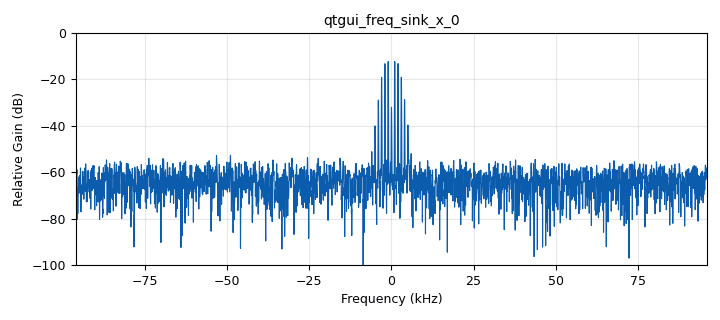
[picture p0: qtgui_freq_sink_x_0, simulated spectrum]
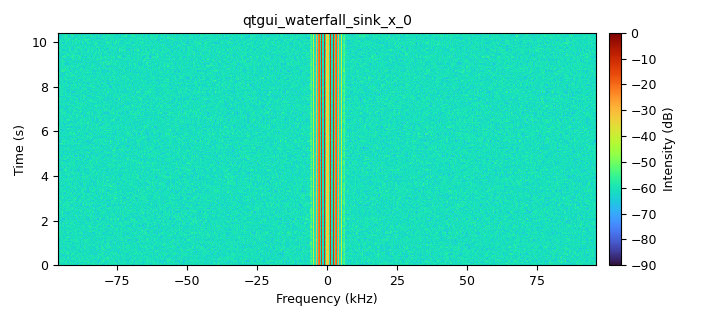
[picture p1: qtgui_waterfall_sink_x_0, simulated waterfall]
<?xml version='1.0' encoding='utf-8'?>
<?grc format='1' created='3.7.10'?>
<flow_graph>
<block>
<key>options</key>
<param><key>id</key><value>fm_doppler_corr</value></param>
<param><key>generate_options</key><value>qt_gui</value></param>
</block>
<block>
<key>variable</key>
<param><key>id</key><value>doppler_bw</value></param>
<param><key>value</key><value>50e3</value></param>
</block>
<block>
<key>variable_qtgui_range</key>
<param><key>id</key><value>doppler_shift</value></param>
<param><key>value</key><value>0.0</value></param>
<param><key>orient</key><value>Qt.Horizontal</value></param>
<param><key>start</key><value>-doppler_bw*0.5</value></param>
<param><key>step</key><value>1.0</value></param>
<param><key>stop</key><value>doppler_bw*0.5</value></param>
</block>
<block>
<key>variable</key>
<param><key>id</key><value>samp_rate</value></param>
<param><key>value</key><value>192e3</value></param>
</block>
<block>
<key>analog_noise_source_x</key>
<param><key>id</key><value>analog_noise_source_x_0</value></param>
<param><key>amp</key><value>1</value></param>
<param><key>_enabled</key><value>0</value></param>
<param><key>noise_type</key><value>analog.GR_GAUSSIAN</value></param>
<param><key>type</key><value>complex</value></param>
<param><key>seed</key><value>0</value></param>
</block>
<block>
<key>analog_sig_source_x</key>
<param><key>id</key><value>analog_sig_source_x_0</value></param>
<param><key>amp</key><value>1</value></param>
<param><key>freq</key><value>1000</value></param>
<param><key>offset</key><value>0</value></param>
<param><key>type</key><value>float</value></param>
<param><key>samp_rate</key><value>samp_rate</value></param>
<param><key>waveform</key><value>analog.GR_COS_WAVE</value></param>
</block>
<block>
<key>blocks_rotator_cc</key>
<param><key>id</key><value>blocks_rotator_cc_0</value></param>
<param><key>phase_inc</key><value>(doppler_shift/samp_rate)*2*math.pi</value></param>
</block>
<block>
<key>blocks_throttle</key>
<param><key>id</key><value>blocks_throttle_0</value></param>
<param><key>samples_per_second</key><value>samp_rate</value></param>
<param><key>type</key><value>complex</value></param>
</block>
<block>
<key>blocks_vco_c</key>
<param><key>id</key><value>blocks_vco_c_0</value></param>
<param><key>amplitude</key><value>1.0</value></param>
<param><key>samp_rate</key><value>samp_rate</value></param>
<param><key>sensitivity</key><value>2*math.pi*2.5e3</value></param>
</block>
<block>
<key>channels_channel_model</key>
<param><key>id</key><value>channels_channel_model_0</value></param>
<param><key>epsilon</key><value>1.0</value></param>
<param><key>freq_offset</key><value>0.0</value></param>
<param><key>noise_voltage</key><value>0.1</value></param>
<param><key>seed</key><value>0</value></param>
<param><key>taps</key><value>1.0 + 1.0j</value></param>
</block>
<block>
<key>feed_forward_doppler_corr</key>
<param><key>id</key><value>feed_forward_doppler_corr_0</value></param>
<param><key>corr_gain</key><value>1</value></param>
<param><key>doppler_bw</key><value>doppler_bw*1.25</value></param>
<param><key>integration_sample</key><value>50000</value></param>
<param><key>samp_rate</key><value>samp_rate</value></param>
</block>
<block>
<key>import</key>
<param><key>id</key><value>import_0</value></param>
<param><key>import</key><value>import math</value></param>
</block>
<block>
<key>low_pass_filter</key>
<param><key>id</key><value>low_pass_filter_0</value></param>
<param><key>cutoff_freq</key><value>5e3</value></param>
<param><key>decim</key><value>1</value></param>
<param><key>_enabled</key><value>0</value></param>
<param><key>type</key><value>fir_filter_ccf</value></param>
<param><key>gain</key><value>2</value></param>
<param><key>samp_rate</key><value>samp_rate</value></param>
<param><key>width</key><value>1e3</value></param>
<param><key>win</key><value>firdes.WIN_HAMMING</value></param>
</block>
<block>
<key>qtgui_freq_sink_x</key>
<param><key>id</key><value>qtgui_freq_sink_x_0</value></param>
<param><key>bw</key><value>samp_rate</value></param>
<param><key>fc</key><value>0</value></param>
<param><key>fftsize</key><value>4096</value></param>
<param><key>gui_hint</key><value>tab@0:0,0,1,1</value></param>
<param><key>grid</key><value>True</value></param>
<param><key>legend</key><value>False</value></param>
<param><key>showports</key><value>True</value></param>
<param><key>type</key><value>complex</value></param>
<param><key>wintype</key><value>firdes.WIN_BLACKMAN_hARRIS</value></param>
<param><key>ymax</key><value>0</value></param>
<param><key>ymin</key><value>-100</value></param>
</block>
<block>
<key>qtgui_freq_sink_x</key>
<param><key>id</key><value>qtgui_freq_sink_x_1</value></param>
<param><key>bw</key><value>samp_rate</value></param>
<param><key>fc</key><value>0</value></param>
<param><key>fftsize</key><value>4096</value></param>
<param><key>gui_hint</key><value>tab@1:0,0,1,1</value></param>
<param><key>grid</key><value>True</value></param>
<param><key>legend</key><value>False</value></param>
<param><key>showports</key><value>True</value></param>
<param><key>type</key><value>complex</value></param>
<param><key>wintype</key><value>firdes.WIN_BLACKMAN_hARRIS</value></param>
<param><key>ymax</key><value>0</value></param>
<param><key>ymin</key><value>-100</value></param>
</block>
<block>
<key>qtgui_freq_sink_x</key>
<param><key>id</key><value>qtgui_freq_sink_x_1_0</value></param>
<param><key>bw</key><value>samp_rate</value></param>
<param><key>fc</key><value>0</value></param>
<param><key>fftsize</key><value>4096</value></param>
<param><key>gui_hint</key><value>tab@2:0,0,1,1</value></param>
<param><key>grid</key><value>True</value></param>
<param><key>legend</key><value>False</value></param>
<param><key>showports</key><value>True</value></param>
<param><key>type</key><value>complex</value></param>
<param><key>wintype</key><value>firdes.WIN_BLACKMAN_hARRIS</value></param>
<param><key>ymax</key><value>0</value></param>
<param><key>ymin</key><value>-100</value></param>
</block>
<block>
<key>qtgui_freq_sink_x</key>
<param><key>id</key><value>qtgui_freq_sink_x_1_0_0</value></param>
<param><key>bw</key><value>samp_rate</value></param>
<param><key>fc</key><value>0</value></param>
<param><key>fftsize</key><value>4096</value></param>
<param><key>gui_hint</key><value>tab@2:1,0,1,1</value></param>
<param><key>grid</key><value>True</value></param>
<param><key>legend</key><value>False</value></param>
<param><key>showports</key><value>True</value></param>
<param><key>type</key><value>complex</value></param>
<param><key>wintype</key><value>firdes.WIN_BLACKMAN_hARRIS</value></param>
<param><key>ymax</key><value>0</value></param>
<param><key>ymin</key><value>-100</value></param>
</block>
<block>
<key>qtgui_time_sink_x</key>
<param><key>id</key><value>qtgui_time_sink_x_0</value></param>
<param><key>gui_hint</key><value>tab@1:1,0,1,1</value></param>
<param><key>grid</key><value>True</value></param>
<param><key>legend</key><value>False</value></param>
<param><key>color1</key><value>"blue"</value></param>
<param><key>label1</key><value></value></param>
<param><key>size</key><value>8192</value></param>
<param><key>srate</key><value>samp_rate</value></param>
<param><key>type</key><value>float</value></param>
<param><key>ymax</key><value>50e3</value></param>
<param><key>ymin</key><value>-50e3</value></param>
</block>
<block>
<key>qtgui_waterfall_sink_x</key>
<param><key>id</key><value>qtgui_waterfall_sink_x_0</value></param>
<param><key>bw</key><value>samp_rate</value></param>
<param><key>fc</key><value>0</value></param>
<param><key>fftsize</key><value>8192</value></param>
<param><key>gui_hint</key><value>tab@0:1,0,1,1</value></param>
<param><key>int_max</key><value>0</value></param>
<param><key>int_min</key><value>-90</value></param>
<param><key>legend</key><value>False</value></param>
<param><key>color1</key><value>6</value></param>
<param><key>showports</key><value>True</value></param>
<param><key>type</key><value>complex</value></param>
<param><key>wintype</key><value>firdes.WIN_BLACKMAN_hARRIS</value></param>
</block>
<block>
<key>qtgui_tab_widget</key>
<param><key>id</key><value>tab</value></param>
<param><key>gui_hint</key><value>1,0,1,1</value></param>
<param><key>label0</key><value>Tab 0</value></param>
<param><key>label1</key><value>Tab 1</value></param>
<param><key>label2</key><value>Tab 2</value></param>
<param><key>num_tabs</key><value>3</value></param>
</block>
<block>
<key>virtual_sink</key>
<param><key>id</key><value>virtual_sink_0</value></param>
<param><key>stream_id</key><value>rf</value></param>
</block>
<block>
<key>virtual_source</key>
<param><key>id</key><value>virtual_source_0</value></param>
<param><key>stream_id</key><value>rf</value></param>
</block>
<connection><source_block_id>analog_noise_source_x_0</source_block_id><sink_block_id>low_pass_filter_0</sink_block_id><source_key>0</source_key><sink_key>0</sink_key></connection>
<connection><source_block_id>analog_sig_source_x_0</source_block_id><sink_block_id>blocks_vco_c_0</sink_block_id><source_key>0</source_key><sink_key>0</sink_key></connection>
<connection><source_block_id>blocks_rotator_cc_0</source_block_id><sink_block_id>channels_channel_model_0</sink_block_id><source_key>0</source_key><sink_key>0</sink_key></connection>
<connection><source_block_id>blocks_throttle_0</source_block_id><sink_block_id>qtgui_freq_sink_x_0</sink_block_id><source_key>0</source_key><sink_key>0</sink_key></connection>
<connection><source_block_id>blocks_throttle_0</source_block_id><sink_block_id>qtgui_waterfall_sink_x_0</sink_block_id><source_key>0</source_key><sink_key>0</sink_key></connection>
<connection><source_block_id>blocks_throttle_0</source_block_id><sink_block_id>virtual_sink_0</sink_block_id><source_key>0</source_key><sink_key>0</sink_key></connection>
<connection><source_block_id>blocks_vco_c_0</source_block_id><sink_block_id>blocks_rotator_cc_0</sink_block_id><source_key>0</source_key><sink_key>0</sink_key></connection>
<connection><source_block_id>channels_channel_model_0</source_block_id><sink_block_id>blocks_throttle_0</sink_block_id><source_key>0</source_key><sink_key>0</sink_key></connection>
<connection><source_block_id>feed_forward_doppler_corr_0</source_block_id><sink_block_id>qtgui_freq_sink_x_1_0</sink_block_id><source_key>2</source_key><sink_key>0</sink_key></connection>
<connection><source_block_id>feed_forward_doppler_corr_0</source_block_id><sink_block_id>qtgui_time_sink_x_0</sink_block_id><source_key>3</source_key><sink_key>0</sink_key></connection>
<connection><source_block_id>feed_forward_doppler_corr_0</source_block_id><sink_block_id>qtgui_freq_sink_x_1_0_0</sink_block_id><source_key>0</source_key><sink_key>0</sink_key></connection>
<connection><source_block_id>feed_forward_doppler_corr_0</source_block_id><sink_block_id>qtgui_freq_sink_x_1</sink_block_id><source_key>1</source_key><sink_key>0</sink_key></connection>
<connection><source_block_id>low_pass_filter_0</source_block_id><sink_block_id>blocks_rotator_cc_0</sink_block_id><source_key>0</source_key><sink_key>0</sink_key></connection>
<connection><source_block_id>virtual_source_0</source_block_id><sink_block_id>feed_forward_doppler_corr_0</sink_block_id><source_key>0</source_key><sink_key>0</sink_key></connection>
</flow_graph>
